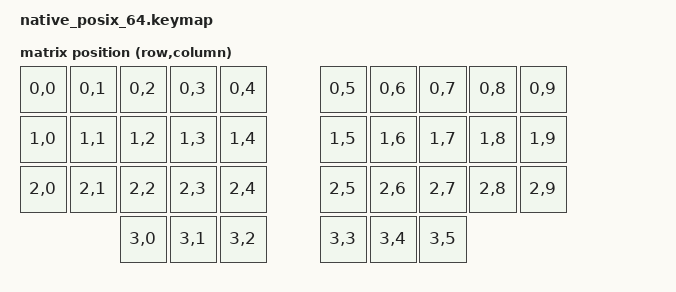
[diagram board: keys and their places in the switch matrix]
#include <dt-bindings/zmk/matrix_transform.h>
#include <dt-bindings/zmk/kscan_mock.h>

/ {
    chosen {
        zmk,matrix-transform = &transform;
    };

    /* op36 position N is RC(N/10, N%10); thumbs 30..35 are row 3. */
    transform: keymap_transform {
        compatible = "zmk,matrix-transform";
        columns = <10>;
        rows = <4>;
        map = <
            RC(0,0) RC(0,1) RC(0,2) RC(0,3) RC(0,4) RC(0,5) RC(0,6) RC(0,7) RC(0,8) RC(0,9)
            RC(1,0) RC(1,1) RC(1,2) RC(1,3) RC(1,4) RC(1,5) RC(1,6) RC(1,7) RC(1,8) RC(1,9)
            RC(2,0) RC(2,1) RC(2,2) RC(2,3) RC(2,4) RC(2,5) RC(2,6) RC(2,7) RC(2,8) RC(2,9)
            RC(3,0) RC(3,1) RC(3,2) RC(3,3) RC(3,4) RC(3,5)
        >;
    };
};

&kscan {
    rows = <4>;
    columns = <10>;
    events = <
        /* lead-in so require-prior-idle-ms sees real idle time */
        ZMK_MOCK_PRESS(0,1,10)
        ZMK_MOCK_RELEASE(0,1,400)

        /* cmbru, a tap on thumbs 31+34, leaves en for ru */
        ZMK_MOCK_PRESS(3,1,5)
        ZMK_MOCK_PRESS(3,4,20)
        ZMK_MOCK_RELEASE(3,1,10)
        ZMK_MOCK_RELEASE(3,4,300)

        /* Hold position 32 to raise sym_ru, which must be layer 4 and not
           layer 3. Then every symbol the macOS "Русская" layout moves off the
           PC ЙЦУКЕН position: ? (5), * (10), / (15), : (23), ; (24), % (25),
           , (26), . (27) and \\ (28). Positions 23 and 26 are the ru_ext
           entrances on ru, and 10 is a home row mod, so sym_ru has to win over
           all three. */
        ZMK_MOCK_PRESS(3,2,350)
        ZMK_MOCK_PRESS(0,5,30)
        ZMK_MOCK_RELEASE(0,5,30)
        ZMK_MOCK_PRESS(1,5,30)
        ZMK_MOCK_RELEASE(1,5,30)
        ZMK_MOCK_PRESS(2,3,30)
        ZMK_MOCK_RELEASE(2,3,30)
        ZMK_MOCK_PRESS(2,4,30)
        ZMK_MOCK_RELEASE(2,4,30)
        ZMK_MOCK_PRESS(2,5,30)
        ZMK_MOCK_RELEASE(2,5,30)
        ZMK_MOCK_PRESS(2,6,30)
        ZMK_MOCK_RELEASE(2,6,30)
        ZMK_MOCK_PRESS(2,7,30)
        ZMK_MOCK_RELEASE(2,7,30)

        /* Then the ten that keys_ru.h has no macro for, or defines wrongly.
           "Русская" carries all but one of them under Option, so these are
           plain &kp now and roll at 30 ms like any other key: { (2), | (4),
           [ (6), ] (8), * (10), } (12), $ (13), ' (16), ~ (21) and ` (22).
           Option shows up as implicit_mods 0x04 and Option+Shift as 0x06; ]
           is the one with no modifier at all. Position 13 is a hold-tap, so
           it has to come out as a tap. */
        ZMK_MOCK_PRESS(0,2,30)
        ZMK_MOCK_RELEASE(0,2,30)
        ZMK_MOCK_PRESS(0,4,30)
        ZMK_MOCK_RELEASE(0,4,30)
        ZMK_MOCK_PRESS(0,6,30)
        ZMK_MOCK_RELEASE(0,6,30)
        ZMK_MOCK_PRESS(0,8,30)
        ZMK_MOCK_RELEASE(0,8,30)
        ZMK_MOCK_PRESS(1,0,30)
        ZMK_MOCK_RELEASE(1,0,30)
        ZMK_MOCK_PRESS(1,2,30)
        ZMK_MOCK_RELEASE(1,2,30)
        ZMK_MOCK_PRESS(1,3,30)
        ZMK_MOCK_RELEASE(1,3,30)
        ZMK_MOCK_PRESS(1,6,30)
        ZMK_MOCK_RELEASE(1,6,30)
        ZMK_MOCK_PRESS(2,1,30)
        ZMK_MOCK_RELEASE(2,1,30)
        ZMK_MOCK_PRESS(2,2,30)
        ZMK_MOCK_RELEASE(2,2,30)

        /* \\ (pos 28) is the only glyph left with no key on this layout, so it
           is the only one still going through &en, which flips the host with
           Globe, types on ABC and flips back. The macro is asynchronous and
           carries wait-ms = 50, so it is spaced like a human reaching for a
           symbol rather than rolled at 30 ms — at 30 ms the macro's own key
           lands after the following one, and that next key gets typed while the
           host is still on ABC. */
        ZMK_MOCK_PRESS(2,8,200)
        ZMK_MOCK_RELEASE(2,8,200)
        ZMK_MOCK_RELEASE(3,2,300)

        /* The other entrance, Enter (pos 33), must reach the same layer. */
        ZMK_MOCK_PRESS(3,3,350)
        ZMK_MOCK_PRESS(0,5,30)
        ZMK_MOCK_RELEASE(0,5,30)
        ZMK_MOCK_RELEASE(3,3,300)

        /* Back on ru afterwards: pos 1 is й. */
        ZMK_MOCK_PRESS(0,1,30)
        ZMK_MOCK_RELEASE(0,1,200)
    >;
};

#include "/cfg/op36_ruen.keymap"
